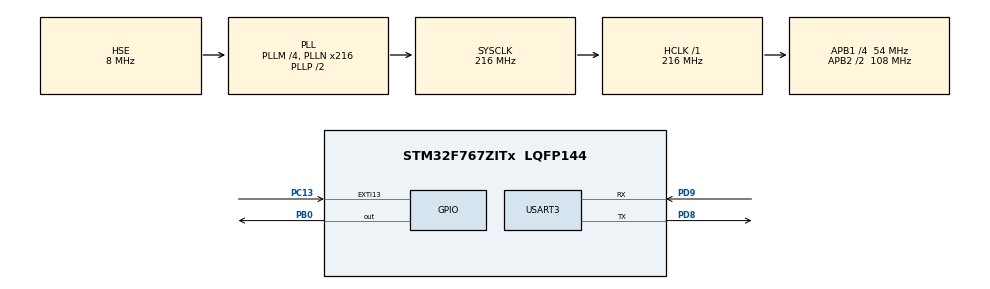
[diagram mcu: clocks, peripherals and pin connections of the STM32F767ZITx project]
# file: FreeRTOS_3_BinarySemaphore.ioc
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FREERTOS.BinarySemaphores01=binarySema,Dynamic,NULL
FREERTOS.INCLUDE_vTaskDelayUntil=1
FREERTOS.Tasks01=normalTask,0,128,start_normalTask,Default,NULL,Dynamic,NULL,NULL;aboveNormalTask,1,128,start_aboveNormalTask,Default,NULL,Dynamic,NULL,NULL;belowNormalTask,-1,128,start_belowNormalTask,Default,NULL,Dynamic,NULL,NULL
FREERTOS.configUSE_NEWLIB_REENTRANT=1
Mcu.Family=STM32F7
Mcu.Name=STM32F767ZITx
Mcu.Package=LQFP144
NVIC.EXTI15_10_IRQn=true\:5\:0\:false\:false\:true\:true\:true\:true\:true
NVIC.PriorityGroup=NVIC_PRIORITYGROUP_4
NVIC.TIM6_DAC_IRQn=true\:15\:0\:false\:false\:true\:false\:false\:true\:true
NVIC.TimeBase=TIM6_DAC_IRQn
NVIC.TimeBaseIP=TIM6
PB0.Signal=GPIO_Output
PC13.Signal=GPXTI13
PD8.Mode=Asynchronous
PD8.Signal=USART3_TX
PD9.Mode=Asynchronous
PD9.Signal=USART3_RX
PH0/OSC_IN.Mode=HSE-External-Oscillator
PH0/OSC_IN.Signal=RCC_OSC_IN
PH1/OSC_OUT.Mode=HSE-External-Oscillator
PH1/OSC_OUT.Signal=RCC_OSC_OUT
ProjectManager.HeapSize=0x200
ProjectManager.StackSize=0x400
ProjectManager.TargetToolchain=STM32CubeIDE
RCC.AHBFreq_Value=216000000
RCC.APB1CLKDivider=RCC_HCLK_DIV4
RCC.APB1Freq_Value=54000000
RCC.APB1TimFreq_Value=108000000
RCC.APB2CLKDivider=RCC_HCLK_DIV2
RCC.APB2Freq_Value=108000000
RCC.APB2TimFreq_Value=216000000
RCC.CortexFreq_Value=216000000
RCC.HCLKFreq_Value=216000000
RCC.HSE_VALUE=8000000
RCC.HSI_VALUE=16000000
RCC.LSE_VALUE=32768
RCC.PLLM=4
RCC.PLLN=216
RCC.PLLSourceVirtual=RCC_PLLSOURCE_HSE
RCC.SYSCLKFreq_VALUE=216000000
RCC.SYSCLKSource=RCC_SYSCLKSOURCE_PLLCLK
RCC.USBFreq_Value=216000000
RCC.VCOOutputFreq_Value=432000000
USART3.VirtualMode-Asynchronous=VM_ASYNC
VP_FREERTOS_VS_CMSIS_V1.Mode=CMSIS_V1
VP_SYS_VS_tim6.Mode=TIM6
board=custom

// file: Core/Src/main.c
/* USER CODE BEGIN Header */
/**
  ******************************************************************************
  * @file           : main.c
  * @brief          : Main program body
  ******************************************************************************
  * @attention
  *
  * Copyright (c) 2022 STMicroelectronics.
  * All rights reserved.
  *
  * This software is licensed under terms that can be found in the LICENSE file
  * in the root directory of this software component.
  * If no LICENSE file comes with this software, it is provided AS-IS.
  *
  ******************************************************************************
  */
/* USER CODE END Header */
#include "main.h"
#include "cmsis_os.h"

/* USER CODE BEGIN Includes */
#include <stdio.h>
#include <string.h>
/* USER CODE END Includes */

UART_HandleTypeDef huart3;

osThreadId normalTaskHandle;
osThreadId aboveNormalTaskHandle;
osThreadId belowNormalTaskHandle;
osSemaphoreId binarySemaHandle;
/* USER CODE BEGIN PV */

uint8_t but_status = 0;

/* USER CODE END PV */

void SystemClock_Config(void);
static void MX_GPIO_Init(void);
static void MX_USART3_UART_Init(void);
void start_normalTask(void const * argument);
void start_aboveNormalTask(void const * argument);
void start_belowNormalTask(void const * argument);

int main(void)
{

  /* MCU Configuration--------------------------------------------------------*/

  /* Reset of all peripherals, Initializes the Flash interface and the Systick. */
  HAL_Init();

  /* Configure the system clock */
  SystemClock_Config();

  /* Initialize all configured peripherals */
  MX_GPIO_Init();
  MX_USART3_UART_Init();
  /* USER CODE BEGIN 2 */

  // sending data through USART at the beginning of Programm
  char stri[] = "Programm started!!!\n\r";
  HAL_UART_Transmit(&huart3, (uint8_t*)stri, strlen(stri), HAL_MAX_DELAY); //HAL_MAX_DELAY -> 0xFFFFFFFFU

  /* USER CODE END 2 */

  /* Create the semaphores(s) */
  /* definition and creation of binarySema */
  osSemaphoreDef(binarySema);
  binarySemaHandle = osSemaphoreCreate(osSemaphore(binarySema), 1);

  /* Create the thread(s) */
  /* definition and creation of normalTask */
  osThreadDef(normalTask, start_normalTask, osPriorityNormal, 0, 128);
  normalTaskHandle = osThreadCreate(osThread(normalTask), NULL);

  /* definition and creation of aboveNormalTask */
  osThreadDef(aboveNormalTask, start_aboveNormalTask, osPriorityAboveNormal, 0, 128);
  aboveNormalTaskHandle = osThreadCreate(osThread(aboveNormalTask), NULL);

  /* definition and creation of belowNormalTask */
  osThreadDef(belowNormalTask, start_belowNormalTask, osPriorityBelowNormal, 0, 128);
  belowNormalTaskHandle = osThreadCreate(osThread(belowNormalTask), NULL);

  /* Start scheduler */
  osKernelStart();

  /* We should never get here as control is now taken by the scheduler */
  /* Infinite loop */
  while (1)
  {

  }
}

void SystemClock_Config(void)
{
  RCC_OscInitTypeDef RCC_OscInitStruct = {0};
  RCC_ClkInitTypeDef RCC_ClkInitStruct = {0};

  /** Configure the main internal regulator output voltage
  */
  __HAL_RCC_PWR_CLK_ENABLE();
  __HAL_PWR_VOLTAGESCALING_CONFIG(PWR_REGULATOR_VOLTAGE_SCALE1);

  /** Initializes the RCC Oscillators according to the specified parameters
  * in the RCC_OscInitTypeDef structure.
  */
  RCC_OscInitStruct.OscillatorType = RCC_OSCILLATORTYPE_HSE;
  RCC_OscInitStruct.HSEState = RCC_HSE_ON;
  RCC_OscInitStruct.PLL.PLLState = RCC_PLL_ON;
  RCC_OscInitStruct.PLL.PLLSource = RCC_PLLSOURCE_HSE;
  RCC_OscInitStruct.PLL.PLLM = 4;
  RCC_OscInitStruct.PLL.PLLN = 216;
  RCC_OscInitStruct.PLL.PLLP = RCC_PLLP_DIV2;
  RCC_OscInitStruct.PLL.PLLQ = 2;
  RCC_OscInitStruct.PLL.PLLR = 2;
  if (HAL_RCC_OscConfig(&RCC_OscInitStruct) != HAL_OK)
  {
    Error_Handler();
  }

  /** Activate the Over-Drive mode
  */
  if (HAL_PWREx_EnableOverDrive() != HAL_OK)
  {
    Error_Handler();
  }

  /** Initializes the CPU, AHB and APB buses clocks
  */
  RCC_ClkInitStruct.ClockType = RCC_CLOCKTYPE_HCLK|RCC_CLOCKTYPE_SYSCLK
                              |RCC_CLOCKTYPE_PCLK1|RCC_CLOCKTYPE_PCLK2;
  RCC_ClkInitStruct.SYSCLKSource = RCC_SYSCLKSOURCE_PLLCLK;
  RCC_ClkInitStruct.AHBCLKDivider = RCC_SYSCLK_DIV1;
  RCC_ClkInitStruct.APB1CLKDivider = RCC_HCLK_DIV4;
  RCC_ClkInitStruct.APB2CLKDivider = RCC_HCLK_DIV2;

  if (HAL_RCC_ClockConfig(&RCC_ClkInitStruct, FLASH_LATENCY_7) != HAL_OK)
  {
    Error_Handler();
  }
}

static void MX_USART3_UART_Init(void)
{

  huart3.Instance = USART3;
  huart3.Init.BaudRate = 115200;
  huart3.Init.WordLength = UART_WORDLENGTH_8B;
  huart3.Init.StopBits = UART_STOPBITS_1;
  huart3.Init.Parity = UART_PARITY_NONE;
  huart3.Init.Mode = UART_MODE_TX_RX;
  huart3.Init.HwFlowCtl = UART_HWCONTROL_NONE;
  huart3.Init.OverSampling = UART_OVERSAMPLING_16;
  huart3.Init.OneBitSampling = UART_ONE_BIT_SAMPLE_DISABLE;
  huart3.AdvancedInit.AdvFeatureInit = UART_ADVFEATURE_NO_INIT;
  if (HAL_UART_Init(&huart3) != HAL_OK)
  {
    Error_Handler();
  }

}

static void MX_GPIO_Init(void)
{
  GPIO_InitTypeDef GPIO_InitStruct = {0};

  /* GPIO Ports Clock Enable */
  __HAL_RCC_GPIOC_CLK_ENABLE();
  __HAL_RCC_GPIOH_CLK_ENABLE();
  __HAL_RCC_GPIOB_CLK_ENABLE();
  __HAL_RCC_GPIOD_CLK_ENABLE();

  /*Configure GPIO pin Output Level */
  HAL_GPIO_WritePin(GPIOB, GPIO_PIN_0, GPIO_PIN_RESET);

  /*Configure GPIO pin : PC13 */
  GPIO_InitStruct.Pin = GPIO_PIN_13;
  GPIO_InitStruct.Mode = GPIO_MODE_IT_RISING;
  GPIO_InitStruct.Pull = GPIO_NOPULL;
  HAL_GPIO_Init(GPIOC, &GPIO_InitStruct);

  /*Configure GPIO pin : PB0 */
  GPIO_InitStruct.Pin = GPIO_PIN_0;
  GPIO_InitStruct.Mode = GPIO_MODE_OUTPUT_PP;
  GPIO_InitStruct.Pull = GPIO_NOPULL;
  GPIO_InitStruct.Speed = GPIO_SPEED_FREQ_LOW;
  HAL_GPIO_Init(GPIOB, &GPIO_InitStruct);

  /* EXTI interrupt init*/
  HAL_NVIC_SetPriority(EXTI15_10_IRQn, 5, 0);
  HAL_NVIC_EnableIRQ(EXTI15_10_IRQn);

}

void start_normalTask(void const * argument)
{
  /* USER CODE BEGIN 5 */
  /* Infinite loop */
  for(;;)
  {
	  // sending data through USART at entering the task
	  char *stri1 = "{start_normalTask} Entered start_normalTask and waiting for Semaphore | NORMAL.\n\r";
	  HAL_UART_Transmit(&huart3, (uint8_t*)stri1, strlen(stri1), HAL_MAX_DELAY); //HAL_MAX_DELAY -> 0xFFFFFFFFU

	  osSemaphoreWait(binarySemaHandle, osWaitForever);

	  // sending data through USART at acquiring semaphore
	  char *stri2 = "{start_normalTask} Semaphore acquired by start_normalTask | NORMAL.\n\r";
	  HAL_UART_Transmit(&huart3, (uint8_t*)stri2, strlen(stri2), HAL_MAX_DELAY); //HAL_MAX_DELAY -> 0xFFFFFFFFU

	  //while (HAL_GPIO_ReadPin(GPIOB, GPIO_PIN_0)==0); // wait till the pin go low
	  while (but_status==0);

	  // sending data through USART at leaving the task
	  char *stri3 = "{start_normalTask} Leaving start_normalTask and releasing Semaphore | NORMAL.\n\r";
	  HAL_UART_Transmit(&huart3, (uint8_t*)stri3, strlen(stri3), HAL_MAX_DELAY); //HAL_MAX_DELAY -> 0xFFFFFFFFU

	  osSemaphoreRelease(binarySemaHandle);

	  but_status = 0; // changing button status again to 0 -> wait till button pressed for this task

	  osDelay(500);
  }
  /* USER CODE END 5 */
}

void start_aboveNormalTask(void const * argument)
{
  /* USER CODE BEGIN start_aboveNormalTask */
  /* Infinite loop */
  for(;;)
  {
	  // sending data through USART at entering the task
	  char *stri1 = "{start_aboveNormalTask} Entered start_aboveNormalTask and waiting for Semaphore | HIGH.\n\r";
	  HAL_UART_Transmit(&huart3, (uint8_t*)stri1, strlen(stri1), HAL_MAX_DELAY); //HAL_MAX_DELAY -> 0xFFFFFFFFU

	  osSemaphoreWait(binarySemaHandle, osWaitForever);

	  // sending data through USART at acquiring semaphore
	  char *stri2 = "{start_aboveNormalTask} Semaphore acquired by start_aboveNormalTask | HIGH.\n\r";
	  HAL_UART_Transmit(&huart3, (uint8_t*)stri2, strlen(stri2), HAL_MAX_DELAY); //HAL_MAX_DELAY -> 0xFFFFFFFFU

	  // sending data through USART at leaving the task
	  char *stri3 = "{start_aboveNormalTask} Leaving start_aboveNormalTask and releasing Semaphore | HIGH.\n\r";
	  HAL_UART_Transmit(&huart3, (uint8_t*)stri3, strlen(stri3), HAL_MAX_DELAY); //HAL_MAX_DELAY -> 0xFFFFFFFFU

	  osSemaphoreRelease(binarySemaHandle);

	  osDelay(500);
  }
  /* USER CODE END start_aboveNormalTask */
}

void start_belowNormalTask(void const * argument)
{
  /* USER CODE BEGIN start_belowNormalTask */
  /* Infinite loop */
  for(;;)
  {
	  // sending data through USART at entering the task
	  char *stri1 = "{start_belowNormalTask} Entered start_belowNormalTask | LOW.\n\r";
	  HAL_UART_Transmit(&huart3, (uint8_t*)stri1, strlen(stri1), HAL_MAX_DELAY); //HAL_MAX_DELAY -> 0xFFFFFFFFU

	  // sending data through USART at leaving the task
	  char *stri2 = "{start_belowNormalTask} Leaving start_belowNormalTask | LOW.\n\r";
	  HAL_UART_Transmit(&huart3, (uint8_t*)stri2, strlen(stri2), HAL_MAX_DELAY); //HAL_MAX_DELAY -> 0xFFFFFFFFU

	  osDelay(500);
  }
  /* USER CODE END start_belowNormalTask */
}

void HAL_TIM_PeriodElapsedCallback(TIM_HandleTypeDef *htim)
{
  if (htim->Instance == TIM6) {
    HAL_IncTick();
  }
}

void Error_Handler(void)
{
  __disable_irq();
  while (1)
  {
  }
}
